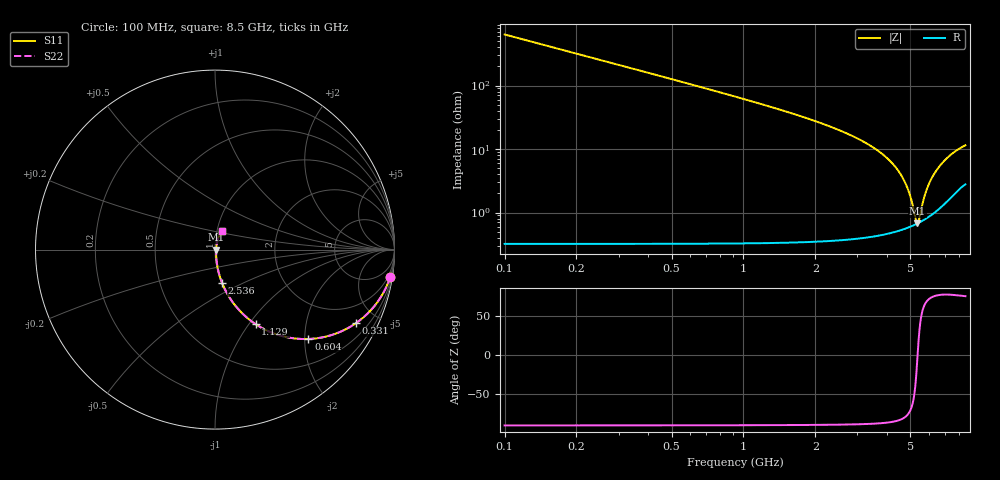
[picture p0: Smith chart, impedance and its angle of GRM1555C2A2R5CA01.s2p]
!Murata Part Number: GRM1555C2A2R5CA01
!These Parameters are Measured in Series Mode Connection
!Data Generated on Mar 30, 2021
!  o--ll--o
!Port1  Port2
!  o------o
!Operation Temp=25[degC], DC Bias Voltage=0[V]
!Freq. Start=100[MHz] Stop=9[GHz] 401[Steps]
# Hz S RI R 50
!Freq.(Hz) S11(Real) S11(Imag) S21(Real) S21(Imag) S12(Real) S12(Imag) S22(Real) S22(Imag)
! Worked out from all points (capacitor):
!   401 points, 100 MHz to 8.5 GHz, reference 50 ohm
!   read as one part in series: C = 2.5 pF near 142 MHz
!   lowest |Z| = 673 mohm at 5.35 GHz (marker M1)
!   series resonance near 5.36 GHz, so ESL is about 350 pH
!   S11 on the Smith chart (normalised r, x): 100 MHz: 1, -13; 331 MHz: 1.01, -3.83; 604 MHz: 1.01, -2.08; 1.129 GHz: 1.01, -1.08; 2.536 GHz: 1.01, -0.39; 8.5 GHz: 1.06, +0.22
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1e8  0.9758 -0.1533  0.0242 0.1533  0.0242 0.1533  0.9758 -0.1533
2.26e8  0.8875 -0.3155  0.1125 0.3155  0.1125 0.3155  0.8875 -0.3155
3.31e8  0.7856 -0.4096  0.2144 0.4096  0.2144 0.4096  0.7856 -0.4096
6.04e8  0.52 -0.4981  0.48 0.4981  0.48 0.4981  0.52 -0.4981
8.56e8  0.3453 -0.4732  0.6547 0.4732  0.6547 0.4732  0.3453 -0.4732
1.129e9  0.2268 -0.4157  0.7732 0.4157  0.7732 0.4157  0.2268 -0.4157
1.507e9  0.134 -0.3364  0.866 0.3364  0.866 0.3364  0.134 -0.3364
2.536e9  0.0402 -0.1873  0.9598 0.1873  0.9598 0.1873  0.0402 -0.1873
2.914e9  0.027 -0.1502  0.973 0.1502  0.973 0.1502  0.027 -0.1502
3.733e9  0.0121 -0.0874  0.9879 0.0874  0.9879 0.0874  0.0121 -0.0874
4.3e9  0.00773 -0.0529  0.9923 0.0529  0.9923 0.0529  0.00773 -0.0529
4.594e9  0.00666 -0.037  0.9933 0.037  0.9933 0.037  0.00666 -0.037
4.846e9  0.00626 -0.0242  0.9937 0.0242  0.9937 0.0242  0.00626 -0.0242
5.035e9  0.00624 -0.015  0.9938 0.015  0.9938 0.015  0.00624 -0.015
5.287e9  0.00654 -0.00328  0.9935 0.00328  0.9935 0.00328  0.00654 -0.00328
5.35e9  0.00667 -0.000441  0.9933 0.000441  0.9933 0.000441  0.00667 -0.000441
5.434e9  0.00688 0.0033  0.9931 -0.0033  0.9931 -0.0033  0.00688 0.0033
5.707e9  0.00784 0.0151  0.9922 -0.0151  0.9922 -0.0151  0.00784 0.0151
5.938e9  0.00897 0.0247  0.991 -0.0247  0.991 -0.0247  0.00897 0.0247
6.253e9  0.011 0.0371  0.989 -0.0371  0.989 -0.0371  0.011 0.0371
7.114e9  0.0193 0.0679  0.9807 -0.0679  0.9807 -0.0679  0.0193 0.0679
8.5e9  0.0382 0.104  0.9618 -0.104  0.9618 -0.104  0.0382 0.104
